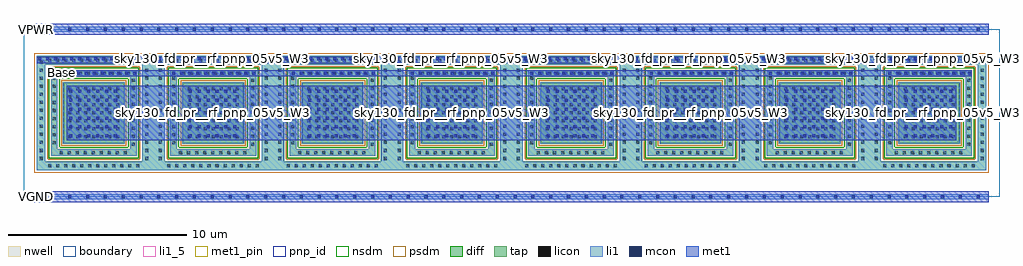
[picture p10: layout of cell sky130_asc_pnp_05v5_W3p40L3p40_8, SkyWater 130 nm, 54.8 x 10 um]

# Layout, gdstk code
import gdstk
lib = gdstk.Library(unit=1e-6, precision=1e-09)
def R(c, l, rs):  # rectangles x0, y0, x1, y1
    for r in rs: c.add(gdstk.rectangle(r[:2], r[2:], *l))
def A(c, l, x, y, w, h, nx, ny, dx, dy):  # array of equal rectangles
    R(c, l, [(x+i*dx, y+j*dy, x+i*dx+w, y+j*dy+h) for i in range(nx) for j in range(ny)])
nwell = (64, 20)
diff = (65, 20)
tap = (65, 44)
licon = (66, 44)
li1_5 = (67, 5)
li1 = (67, 20)
mcon = (67, 44)
met1_pin = (68, 16)
met1 = (68, 20)
pnp_id = (82, 44)
nsdm = (93, 44)
psdm = (94, 20)
boundary = (235, 4)

sky130_asc_pnp_05v5_w3p4 = lib.new_cell('sky130_asc_pnp_05v5_W3p40L3p40_8')
A(sky130_asc_pnp_05v5_w3p4, nwell, 1.365, 2.115, 5.17, 5.17, 8, 1, 6.7, 0)
A(sky130_asc_pnp_05v5_w3p4, diff, 2.25, 3, 3.4, 3.4, 8, 1, 6.7, 0)
A(sky130_asc_pnp_05v5_w3p4, tap, 6.665, 1.985, 1.27, 5.43, 7, 1, 6.7, 0)
A(sky130_asc_pnp_05v5_w3p4, tap, 1.545, 2.295, 4.81, 0.36, 8, 2, 6.7, 4.45)
R(sky130_asc_pnp_05v5_w3p4, tap, [(0.73,1.48,54.07,1.985), (0.73,1.985,1.235,7.415), (53.565,1.985,54.07,7.415), (1.545,2.655,1.905,6.745), (5.995,2.655,6.355,6.745), (8.245,2.655,8.605,6.745), (12.695,2.655,13.055,6.745), (14.945,2.655,15.305,6.745), (19.395,2.655,19.755,6.745), (21.645,2.655,22.005,6.745), (26.095,2.655,26.455,6.745), (28.345,2.655,28.705,6.745), (32.795,2.655,33.155,6.745), (35.045,2.655,35.405,6.745), (39.495,2.655,39.855,6.745), (41.745,2.655,42.105,6.745), (46.195,2.655,46.555,6.745), (48.445,2.655,48.805,6.745), (52.895,2.655,53.255,6.745), (0.73,7.415,54.07,7.92)])
A(sky130_asc_pnp_05v5_w3p4, licon, 1.38, 1.64, 0.17, 0.17, 12, 2, 0.45, 5.935)
A(sky130_asc_pnp_05v5_w3p4, licon, 8.08, 1.64, 0.17, 0.17, 12, 2, 0.45, 5.935)
A(sky130_asc_pnp_05v5_w3p4, licon, 14.78, 1.64, 0.17, 0.17, 12, 2, 0.45, 5.935)
A(sky130_asc_pnp_05v5_w3p4, licon, 21.48, 1.64, 0.17, 0.17, 12, 2, 0.45, 5.935)
A(sky130_asc_pnp_05v5_w3p4, licon, 28.18, 1.64, 0.17, 0.17, 12, 2, 0.45, 5.935)
A(sky130_asc_pnp_05v5_w3p4, licon, 34.88, 1.64, 0.17, 0.17, 12, 2, 0.45, 5.935)
A(sky130_asc_pnp_05v5_w3p4, licon, 41.58, 1.64, 0.17, 0.17, 12, 2, 0.45, 5.935)
A(sky130_asc_pnp_05v5_w3p4, licon, 48.28, 1.64, 0.17, 0.17, 12, 2, 0.45, 5.935)
A(sky130_asc_pnp_05v5_w3p4, licon, 0.9, 2.06, 0.17, 0.17, 1, 13, 0, 0.45)
A(sky130_asc_pnp_05v5_w3p4, licon, 6.835, 2.06, 0.17, 0.17, 1, 13, 0, 0.45)
A(sky130_asc_pnp_05v5_w3p4, licon, 7.6, 2.06, 0.17, 0.17, 1, 13, 0, 0.45)
A(sky130_asc_pnp_05v5_w3p4, licon, 13.535, 2.06, 0.17, 0.17, 1, 13, 0, 0.45)
A(sky130_asc_pnp_05v5_w3p4, licon, 14.3, 2.06, 0.17, 0.17, 1, 13, 0, 0.45)
A(sky130_asc_pnp_05v5_w3p4, licon, 20.235, 2.06, 0.17, 0.17, 1, 13, 0, 0.45)
A(sky130_asc_pnp_05v5_w3p4, licon, 21, 2.06, 0.17, 0.17, 1, 13, 0, 0.45)
A(sky130_asc_pnp_05v5_w3p4, licon, 26.935, 2.06, 0.17, 0.17, 1, 13, 0, 0.45)
A(sky130_asc_pnp_05v5_w3p4, licon, 27.7, 2.06, 0.17, 0.17, 1, 13, 0, 0.45)
A(sky130_asc_pnp_05v5_w3p4, licon, 33.635, 2.06, 0.17, 0.17, 1, 13, 0, 0.45)
A(sky130_asc_pnp_05v5_w3p4, licon, 34.4, 2.06, 0.17, 0.17, 1, 13, 0, 0.45)
A(sky130_asc_pnp_05v5_w3p4, licon, 40.335, 2.06, 0.17, 0.17, 1, 13, 0, 0.45)
A(sky130_asc_pnp_05v5_w3p4, licon, 41.1, 2.06, 0.17, 0.17, 1, 13, 0, 0.45)
A(sky130_asc_pnp_05v5_w3p4, licon, 47.035, 2.06, 0.17, 0.17, 1, 13, 0, 0.45)
A(sky130_asc_pnp_05v5_w3p4, licon, 47.8, 2.06, 0.17, 0.17, 1, 13, 0, 0.45)
A(sky130_asc_pnp_05v5_w3p4, licon, 53.735, 2.06, 0.17, 0.17, 1, 13, 0, 0.45)
A(sky130_asc_pnp_05v5_w3p4, licon, 2.03, 2.39, 0.17, 0.17, 9, 1, 0.45, 0)
A(sky130_asc_pnp_05v5_w3p4, licon, 8.73, 2.39, 0.17, 0.17, 9, 1, 0.45, 0)
A(sky130_asc_pnp_05v5_w3p4, licon, 15.43, 2.39, 0.17, 0.17, 9, 1, 0.45, 0)
A(sky130_asc_pnp_05v5_w3p4, licon, 22.13, 2.39, 0.17, 0.17, 9, 1, 0.45, 0)
A(sky130_asc_pnp_05v5_w3p4, licon, 28.83, 2.39, 0.17, 0.17, 9, 1, 0.45, 0)
A(sky130_asc_pnp_05v5_w3p4, licon, 35.53, 2.39, 0.17, 0.17, 9, 1, 0.45, 0)
A(sky130_asc_pnp_05v5_w3p4, licon, 42.23, 2.39, 0.17, 0.17, 9, 1, 0.45, 0)
A(sky130_asc_pnp_05v5_w3p4, licon, 48.93, 2.39, 0.17, 0.17, 9, 1, 0.45, 0)
A(sky130_asc_pnp_05v5_w3p4, licon, 6.09, 2.86, 0.17, 0.17, 8, 9, 6.7, 0.45)
A(sky130_asc_pnp_05v5_w3p4, licon, 1.64, 2.955, 0.17, 0.17, 8, 9, 6.7, 0.45)
A(sky130_asc_pnp_05v5_w3p4, licon, 2.52, 3.27, 0.17, 0.17, 7, 7, 0.45, 0.45)
A(sky130_asc_pnp_05v5_w3p4, licon, 9.22, 3.27, 0.17, 0.17, 7, 7, 0.45, 0.45)
A(sky130_asc_pnp_05v5_w3p4, licon, 15.92, 3.27, 0.17, 0.17, 7, 7, 0.45, 0.45)
A(sky130_asc_pnp_05v5_w3p4, licon, 22.62, 3.27, 0.17, 0.17, 7, 7, 0.45, 0.45)
A(sky130_asc_pnp_05v5_w3p4, licon, 29.32, 3.27, 0.17, 0.17, 7, 7, 0.45, 0.45)
A(sky130_asc_pnp_05v5_w3p4, licon, 36.02, 3.27, 0.17, 0.17, 7, 7, 0.45, 0.45)
A(sky130_asc_pnp_05v5_w3p4, licon, 42.72, 3.27, 0.17, 0.17, 7, 7, 0.45, 0.45)
A(sky130_asc_pnp_05v5_w3p4, licon, 49.42, 3.27, 0.17, 0.17, 7, 7, 0.45, 0.45)
A(sky130_asc_pnp_05v5_w3p4, licon, 2.2, 6.84, 0.17, 0.17, 9, 1, 0.45, 0)
A(sky130_asc_pnp_05v5_w3p4, licon, 8.9, 6.84, 0.17, 0.17, 9, 1, 0.45, 0)
A(sky130_asc_pnp_05v5_w3p4, licon, 15.6, 6.84, 0.17, 0.17, 9, 1, 0.45, 0)
A(sky130_asc_pnp_05v5_w3p4, licon, 22.3, 6.84, 0.17, 0.17, 9, 1, 0.45, 0)
A(sky130_asc_pnp_05v5_w3p4, licon, 29, 6.84, 0.17, 0.17, 9, 1, 0.45, 0)
A(sky130_asc_pnp_05v5_w3p4, licon, 35.7, 6.84, 0.17, 0.17, 9, 1, 0.45, 0)
A(sky130_asc_pnp_05v5_w3p4, licon, 42.4, 6.84, 0.17, 0.17, 9, 1, 0.45, 0)
A(sky130_asc_pnp_05v5_w3p4, licon, 49.1, 6.84, 0.17, 0.17, 9, 1, 0.45, 0)
A(sky130_asc_pnp_05v5_w3p4, li1_5, 3.37, 4.48, 1.24, 0.52, 8, 1, 6.7, 0)
A(sky130_asc_pnp_05v5_w3p4, li1_5, 3.55, 6.86, 0.59, 0.2, 8, 1, 6.7, 0)
A(sky130_asc_pnp_05v5_w3p4, li1_5, 3.665, 7.61, 0.505, 0.245, 8, 1, 6.7, 0)
A(sky130_asc_pnp_05v5_w3p4, li1, 6.675, 1.975, 1.25, 5.45, 7, 1, 6.7, 0)
A(sky130_asc_pnp_05v5_w3p4, li1, 1.545, 2.295, 4.81, 0.36, 8, 2, 6.7, 4.45)
A(sky130_asc_pnp_05v5_w3p4, li1, 2.215, 2.965, 3.47, 3.47, 8, 1, 6.7, 0)
R(sky130_asc_pnp_05v5_w3p4, li1, [(0.6,-0.15,54.2,0.15), (0.73,1.48,54.07,1.975), (0.73,1.975,1.225,7.425), (53.575,1.975,54.07,7.425), (1.545,2.655,1.905,6.745), (5.995,2.655,6.355,6.745), (8.245,2.655,8.605,6.745), (12.695,2.655,13.055,6.745), (14.945,2.655,15.305,6.745), (19.395,2.655,19.755,6.745), (21.645,2.655,22.005,6.745), (26.095,2.655,26.455,6.745), (28.345,2.655,28.705,6.745), (32.795,2.655,33.155,6.745), (35.045,2.655,35.405,6.745), (39.495,2.655,39.855,6.745), (41.745,2.655,42.105,6.745), (46.195,2.655,46.555,6.745), (48.445,2.655,48.805,6.745), (52.895,2.655,53.255,6.745), (0.73,7.425,54.07,7.92), (0.6,9.25,54.2,9.55)])
A(sky130_asc_pnp_05v5_w3p4, mcon, 1.515, -0.085, 0.17, 0.17, 53, 2, 1, 9.4)
A(sky130_asc_pnp_05v5_w3p4, mcon, 2.58, 3.33, 0.17, 0.17, 6, 6, 0.5, 0.5)
A(sky130_asc_pnp_05v5_w3p4, mcon, 9.28, 3.33, 0.17, 0.17, 6, 6, 0.5, 0.5)
A(sky130_asc_pnp_05v5_w3p4, mcon, 15.98, 3.33, 0.17, 0.17, 6, 6, 0.5, 0.5)
A(sky130_asc_pnp_05v5_w3p4, mcon, 22.68, 3.33, 0.17, 0.17, 6, 6, 0.5, 0.5)
A(sky130_asc_pnp_05v5_w3p4, mcon, 29.38, 3.33, 0.17, 0.17, 6, 6, 0.5, 0.5)
A(sky130_asc_pnp_05v5_w3p4, mcon, 36.08, 3.33, 0.17, 0.17, 6, 6, 0.5, 0.5)
A(sky130_asc_pnp_05v5_w3p4, mcon, 42.78, 3.33, 0.17, 0.17, 6, 6, 0.5, 0.5)
A(sky130_asc_pnp_05v5_w3p4, mcon, 49.48, 3.33, 0.17, 0.17, 6, 6, 0.5, 0.5)
A(sky130_asc_pnp_05v5_w3p4, mcon, 1.65, 6.85, 0.17, 0.17, 11, 1, 0.45, 0)
A(sky130_asc_pnp_05v5_w3p4, mcon, 8.35, 6.85, 0.17, 0.17, 11, 1, 0.45, 0)
A(sky130_asc_pnp_05v5_w3p4, mcon, 15.05, 6.85, 0.17, 0.17, 11, 1, 0.45, 0)
A(sky130_asc_pnp_05v5_w3p4, mcon, 21.75, 6.85, 0.17, 0.17, 11, 1, 0.45, 0)
A(sky130_asc_pnp_05v5_w3p4, mcon, 28.45, 6.85, 0.17, 0.17, 11, 1, 0.45, 0)
A(sky130_asc_pnp_05v5_w3p4, mcon, 35.15, 6.85, 0.17, 0.17, 11, 1, 0.45, 0)
A(sky130_asc_pnp_05v5_w3p4, mcon, 41.85, 6.85, 0.17, 0.17, 11, 1, 0.45, 0)
A(sky130_asc_pnp_05v5_w3p4, mcon, 48.55, 6.85, 0.17, 0.17, 11, 1, 0.45, 0)
A(sky130_asc_pnp_05v5_w3p4, mcon, 0.83, 7.65, 0.17, 0.17, 14, 1, 0.45, 0)
A(sky130_asc_pnp_05v5_w3p4, mcon, 7.53, 7.65, 0.17, 0.17, 14, 1, 0.45, 0)
A(sky130_asc_pnp_05v5_w3p4, mcon, 14.23, 7.65, 0.17, 0.17, 14, 1, 0.45, 0)
A(sky130_asc_pnp_05v5_w3p4, mcon, 20.93, 7.65, 0.17, 0.17, 14, 1, 0.45, 0)
A(sky130_asc_pnp_05v5_w3p4, mcon, 27.63, 7.65, 0.17, 0.17, 14, 1, 0.45, 0)
A(sky130_asc_pnp_05v5_w3p4, mcon, 34.33, 7.65, 0.17, 0.17, 14, 1, 0.45, 0)
A(sky130_asc_pnp_05v5_w3p4, mcon, 41.03, 7.65, 0.17, 0.17, 14, 1, 0.45, 0)
A(sky130_asc_pnp_05v5_w3p4, mcon, 47.73, 7.65, 0.17, 0.17, 14, 1, 0.45, 0)
R(sky130_asc_pnp_05v5_w3p4, met1_pin, [(0.6,-0.15,0.9,0.15), (3.3,5.05,4.5,5.7), (1.55,6.86,2.75,7.06), (0.73,7.62,1.93,7.82), (0.6,9.25,0.9,9.55)])
R(sky130_asc_pnp_05v5_w3p4, met1, [(0.6,-0.3,54.2,0.3), (2.42,3.17,52.38,6.23), (1.55,6.75,53.25,7.1), (0.73,7.5,54.07,7.85), (0.6,9.1,54.2,9.7)])
R(sky130_asc_pnp_05v5_w3p4, pnp_id, [(0.73,1.48,54.07,7.92)])
A(sky130_asc_pnp_05v5_w3p4, nsdm, 1.42, 2.17, 5.06, 0.61, 8, 2, 6.7, 4.45)
R(sky130_asc_pnp_05v5_w3p4, nsdm, [(1.42,2.78,2.03,6.62), (5.87,2.78,6.48,6.62), (8.12,2.78,8.73,6.62), (12.57,2.78,13.18,6.62), (14.82,2.78,15.43,6.62), (19.27,2.78,19.88,6.62), (21.52,2.78,22.13,6.62), (25.97,2.78,26.58,6.62), (28.22,2.78,28.83,6.62), (32.67,2.78,33.28,6.62), (34.92,2.78,35.53,6.62), (39.37,2.78,39.98,6.62), (41.62,2.78,42.23,6.62), (46.07,2.78,46.68,6.62), (48.32,2.78,48.93,6.62), (52.77,2.78,53.38,6.62)])
A(sky130_asc_pnp_05v5_w3p4, psdm, 6.54, 2.11, 1.52, 5.18, 7, 1, 6.7, 0)
A(sky130_asc_pnp_05v5_w3p4, psdm, 2.125, 2.875, 3.65, 3.65, 8, 1, 6.7, 0)
R(sky130_asc_pnp_05v5_w3p4, psdm, [(0.605,1.355,54.195,2.11), (0.605,2.11,1.36,7.29), (53.44,2.11,54.195,7.29), (0.605,7.29,54.195,8.045)])
R(sky130_asc_pnp_05v5_w3p4, boundary, [(0,0,54.8,9.4)])
sky130_asc_pnp_05v5_w3p4.add(gdstk.Label('sky130_fd_pr__rf_pnp_05v5_W3p40L3p40_6/Emitter', (50.89,4.74), layer=67, texttype=5))
sky130_asc_pnp_05v5_w3p4.add(gdstk.Label('sky130_fd_pr__rf_pnp_05v5_W3p40L3p40_6/Collector', (50.817,7.732), layer=67, texttype=5))
sky130_asc_pnp_05v5_w3p4.add(gdstk.Label('sky130_fd_pr__rf_pnp_05v5_W3p40L3p40_6/Base', (50.745,6.96), layer=67, texttype=5))
sky130_asc_pnp_05v5_w3p4.add(gdstk.Label('sky130_fd_pr__rf_pnp_05v5_W3p40L3p40_5/Emitter', (44.19,4.74), layer=67, texttype=5))
sky130_asc_pnp_05v5_w3p4.add(gdstk.Label('sky130_fd_pr__rf_pnp_05v5_W3p40L3p40_5/Collector', (44.117,7.732), layer=67, texttype=5))
sky130_asc_pnp_05v5_w3p4.add(gdstk.Label('sky130_fd_pr__rf_pnp_05v5_W3p40L3p40_5/Base', (44.045,6.96), layer=67, texttype=5))
sky130_asc_pnp_05v5_w3p4.add(gdstk.Label('sky130_fd_pr__rf_pnp_05v5_W3p40L3p40_4/Emitter', (37.49,4.74), layer=67, texttype=5))
sky130_asc_pnp_05v5_w3p4.add(gdstk.Label('sky130_fd_pr__rf_pnp_05v5_W3p40L3p40_4/Collector', (37.417,7.732), layer=67, texttype=5))
sky130_asc_pnp_05v5_w3p4.add(gdstk.Label('sky130_fd_pr__rf_pnp_05v5_W3p40L3p40_4/Base', (37.345,6.96), layer=67, texttype=5))
sky130_asc_pnp_05v5_w3p4.add(gdstk.Label('sky130_fd_pr__rf_pnp_05v5_W3p40L3p40_3/Emitter', (30.79,4.74), layer=67, texttype=5))
sky130_asc_pnp_05v5_w3p4.add(gdstk.Label('sky130_fd_pr__rf_pnp_05v5_W3p40L3p40_3/Collector', (30.717,7.732), layer=67, texttype=5))
sky130_asc_pnp_05v5_w3p4.add(gdstk.Label('sky130_fd_pr__rf_pnp_05v5_W3p40L3p40_3/Base', (30.645,6.96), layer=67, texttype=5))
sky130_asc_pnp_05v5_w3p4.add(gdstk.Label('sky130_fd_pr__rf_pnp_05v5_W3p40L3p40_2/Emitter', (24.09,4.74), layer=67, texttype=5))
sky130_asc_pnp_05v5_w3p4.add(gdstk.Label('sky130_fd_pr__rf_pnp_05v5_W3p40L3p40_2/Collector', (24.017,7.732), layer=67, texttype=5))
sky130_asc_pnp_05v5_w3p4.add(gdstk.Label('sky130_fd_pr__rf_pnp_05v5_W3p40L3p40_2/Base', (23.945,6.96), layer=67, texttype=5))
sky130_asc_pnp_05v5_w3p4.add(gdstk.Label('sky130_fd_pr__rf_pnp_05v5_W3p40L3p40_1/Emitter', (17.39,4.74), layer=67, texttype=5))
sky130_asc_pnp_05v5_w3p4.add(gdstk.Label('sky130_fd_pr__rf_pnp_05v5_W3p40L3p40_1/Collector', (17.317,7.732), layer=67, texttype=5))
sky130_asc_pnp_05v5_w3p4.add(gdstk.Label('sky130_fd_pr__rf_pnp_05v5_W3p40L3p40_1/Base', (17.245,6.96), layer=67, texttype=5))
sky130_asc_pnp_05v5_w3p4.add(gdstk.Label('sky130_fd_pr__rf_pnp_05v5_W3p40L3p40_0/Emitter', (10.69,4.74), layer=67, texttype=5))
sky130_asc_pnp_05v5_w3p4.add(gdstk.Label('sky130_fd_pr__rf_pnp_05v5_W3p40L3p40_0/Collector', (10.617,7.732), layer=67, texttype=5))
sky130_asc_pnp_05v5_w3p4.add(gdstk.Label('sky130_fd_pr__rf_pnp_05v5_W3p40L3p40_0/Base', (10.545,6.96), layer=67, texttype=5))
sky130_asc_pnp_05v5_w3p4.add(gdstk.Label('xm1/Emitter', (3.99,4.74), layer=67, texttype=5))
sky130_asc_pnp_05v5_w3p4.add(gdstk.Label('xm1/Collector', (3.917,7.732), layer=67, texttype=5))
sky130_asc_pnp_05v5_w3p4.add(gdstk.Label('xm1/Base', (3.845,6.96), layer=67, texttype=5))
sky130_asc_pnp_05v5_w3p4.add(gdstk.Label('Emitter', (3.9,5.375), layer=68, texttype=16))
sky130_asc_pnp_05v5_w3p4.add(gdstk.Label('Base', (2.15,6.96), layer=68, texttype=16))
sky130_asc_pnp_05v5_w3p4.add(gdstk.Label('Collector', (1.33,7.72), layer=68, texttype=16))
sky130_asc_pnp_05v5_w3p4.add(gdstk.Label('VPWR', (0.75,9.4), layer=68, texttype=16))
sky130_asc_pnp_05v5_w3p4.add(gdstk.Label('VGND', (0.75,0), layer=68, texttype=16))

lib.write_gds('sky130_asc_pnp_05v5_W3p40L3p40_8.gds')
